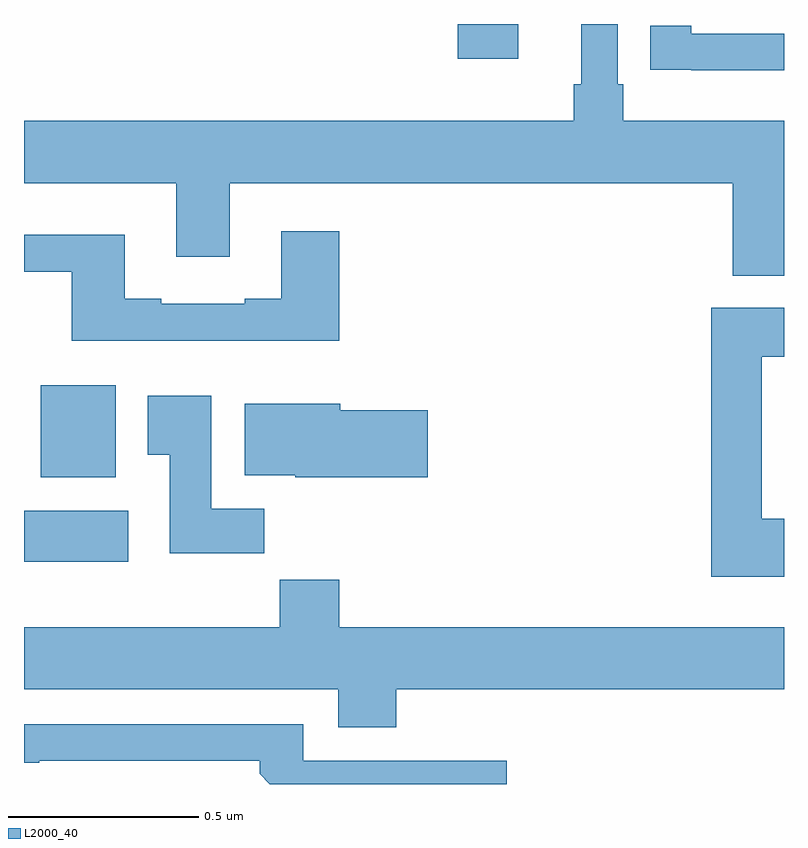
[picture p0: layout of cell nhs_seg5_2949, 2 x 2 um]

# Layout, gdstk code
import gdstk
lib = gdstk.Library(unit=1e-6, precision=1e-09)
def R(c, l, rs):  # rectangles x0, y0, x1, y1
    for r in rs: c.add(gdstk.rectangle(r[:2], r[2:], *l))
def P(c, l, *ps):  # polygons
    for p in ps: c.add(gdstk.Polygon(p, *l))
L2000_40 = (2000, 40)

nhs_seg5_2949 = lib.new_cell('nhs_seg5_2949')
R(nhs_seg5_2949, L2000_40, [(150,902.384,150.274,902.518), (150.044,902.606,150.241,902.848), (151.142,903.708,151.3,903.799)])
P(nhs_seg5_2949, L2000_40, [(152,903.544),(151.577,903.544),(151.577,903.64),(151.563,903.64),(151.563,903.799),(151.466,903.799),(151.466,903.64),(151.447,903.64),(151.447,903.544),(150,903.544),(150,903.38),(150.401,903.38),(150.401,903.186),(150.541,903.186),(150.541,903.38),(151.865,903.38),(151.865,903.137),(152,903.137)],
  [(152,903.774),(151.756,903.774),(151.756,903.794),(151.648,903.794),(151.648,903.678),(151.756,903.678),(151.756,903.677),(152,903.677)],
  [(150.83,903.253),(150.677,903.253),(150.677,903.076),(150.581,903.076),(150.581,903.063),(150.361,903.063),(150.361,903.076),(150.265,903.076),(150.265,903.244),(150,903.244),(150,903.147),(150.125,903.147),(150.125,902.966),(150.83,902.966)],
  [(152,902.497),(151.942,902.497),(151.942,902.924),(152,902.924),(152,903.052),(151.808,903.052),(151.808,902.345),(152,902.345)],
  [(150.632,902.524),(150.493,902.524),(150.493,902.821),(150.326,902.821),(150.326,902.665),(150.383,902.665),(150.383,902.406),(150.632,902.406)],
  [(151.063,902.783),(150.832,902.783),(150.832,902.8),(150.581,902.8),(150.581,902.612),(150.714,902.612),(150.714,902.606),(151.063,902.606)],
  [(150.98,902.048),(152,902.048),(152,902.212),(150.83,902.212),(150.83,902.336),(150.673,902.336),(150.673,902.212),(150,902.212),(150,902.048),(150.827,902.048),(150.827,901.949),(150.98,901.949)],
  [(151.27,901.86),(150.735,901.86),(150.735,901.956),(150,901.956),(150,901.855),(150.04,901.855),(150.04,901.86),(150.62,901.86),(150.62,901.826),(150.647,901.799),(151.27,901.799)])

lib.write_gds('nhs_seg5_2949.gds')
